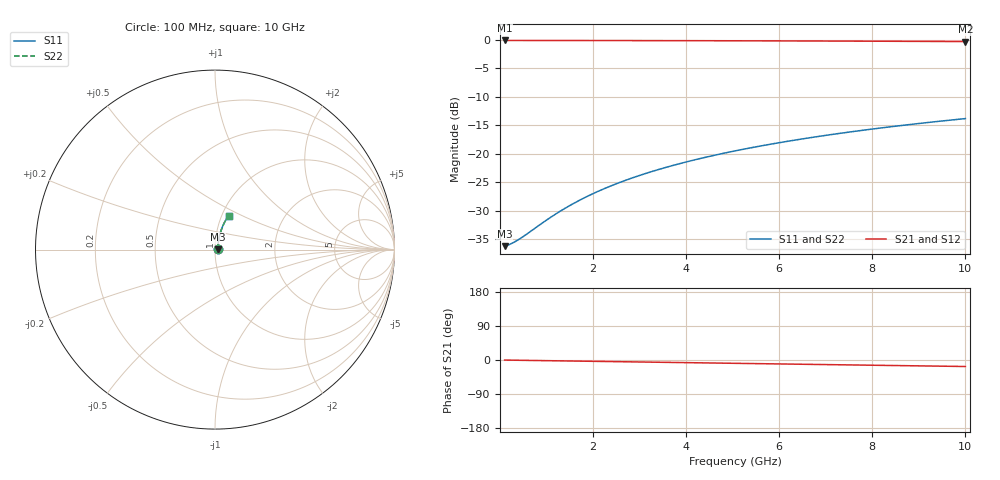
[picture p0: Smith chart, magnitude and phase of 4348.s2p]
# Hz S RI R 50.00
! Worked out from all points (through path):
!   100 points, 100 MHz to 10 GHz, reference 50 ohm
!   highest |S21| = -0.13 dB at 100 MHz (marker M1); lowest = -0.3 dB at 10 GHz (marker M2)
!   group delay of S21, straight-line fit = 4.77 ps
!   lowest |S11| = -36.2 dB at 100 MHz (marker M3), VSWR 1.03, Z = 51.6 + j0.21 ohm
!   |S11| at or under -10 dB: start of sweep to end of sweep
!   |S22| runs from -36.2 to -13.8 dB; largest |S21 - S12| = 0
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1e8  0.0153 0.00204  0.9847 -0.00299  0.9847 -0.00299  0.0153 0.00204
2e8  0.0154 0.00408  0.9846 -0.00598  0.9846 -0.00598  0.0154 0.00408
3e8  0.0155 0.00612  0.9845 -0.00897  0.9845 -0.00897  0.0155 0.00612
4e8  0.0156 0.00816  0.9844 -0.012  0.9844 -0.012  0.0156 0.00816
6e8  0.0159 0.0122  0.9841 -0.0179  0.9841 -0.0179  0.0159 0.0122
1e9  0.0164 0.0204  0.9836 -0.0299  0.9836 -0.0299  0.0164 0.0204
1.2e9  0.0167 0.0244  0.9832 -0.0358  0.9832 -0.0358  0.0167 0.0244
1.5e9  0.0173 0.0305  0.9826 -0.0448  0.9826 -0.0448  0.0173 0.0305
1.8e9  0.018 0.0366  0.9819 -0.0537  0.9819 -0.0537  0.018 0.0366
2.1e9  0.0187 0.0426  0.981 -0.0626  0.981 -0.0626  0.0187 0.0426
2.5e9  0.0199 0.0507  0.9797 -0.0745  0.9797 -0.0745  0.0199 0.0507
2.9e9  0.0213 0.0587  0.9783 -0.0863  0.9783 -0.0863  0.0213 0.0587
3.4e9  0.0233 0.0686  0.9761 -0.101  0.9761 -0.101  0.0233 0.0686
3.8e9  0.0252 0.0765  0.9742 -0.1127  0.9742 -0.1127  0.0252 0.0765
4.2e9  0.0271 0.0844  0.972 -0.1243  0.972 -0.1243  0.0271 0.0844
4.6e9  0.0293 0.0921  0.9697 -0.1359  0.9697 -0.1359  0.0293 0.0921
5.1e9  0.0323 0.1018  0.9665 -0.1503  0.9665 -0.1503  0.0323 0.1018
5.9e9  0.0377 0.1169  0.9607 -0.1731  0.9607 -0.1731  0.0377 0.1169
6.7e9  0.0437 0.1318  0.9542 -0.1956  0.9542 -0.1956  0.0437 0.1318
7.5e9  0.0504 0.1462  0.947 -0.2177  0.947 -0.2177  0.0504 0.1462
8.4e9  0.0587 0.162  0.938 -0.242  0.938 -0.242  0.0587 0.162
1e10  0.0754 0.1887  0.9199 -0.284  0.9199 -0.284  0.0754 0.1887
